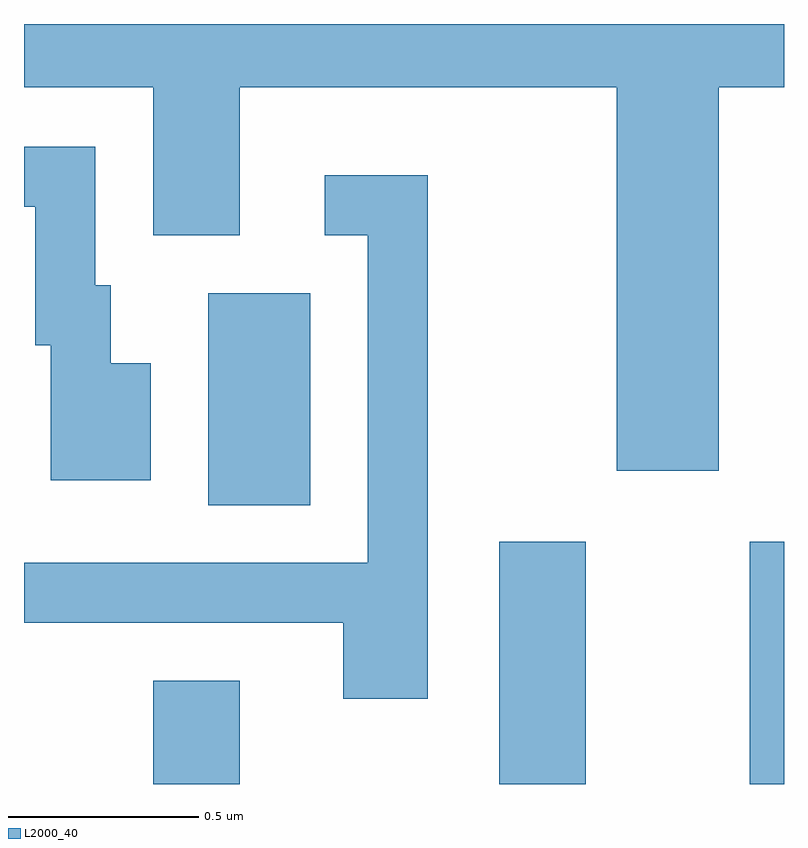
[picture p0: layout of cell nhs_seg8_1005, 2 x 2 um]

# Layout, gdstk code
import gdstk
lib = gdstk.Library(unit=1e-6, precision=1e-09)
def R(c, l, rs):  # rectangles x0, y0, x1, y1
    for r in rs: c.add(gdstk.rectangle(r[:2], r[2:], *l))
def P(c, l, *ps):  # polygons
    for p in ps: c.add(gdstk.Polygon(p, *l))
L2000_40 = (2000, 40)

nhs_seg8_1005 = lib.new_cell('nhs_seg8_1005')
R(nhs_seg8_1005, L2000_40, [(192.951,1852.342,193.179,1852.614), (193.861,1852.342,194.089,1852.979), (194.521,1852.342,194.611,1852.979), (193.096,1853.076,193.364,1853.634)])
P(nhs_seg8_1005, L2000_40, [(194.439,1854.176),(194.611,1854.176),(194.611,1854.342),(192.611,1854.342),(192.611,1854.176),(192.951,1854.176),(192.951,1853.786),(193.179,1853.786),(193.179,1854.176),(194.171,1854.176),(194.171,1853.166),(194.439,1853.166)],
  [(192.944,1853.449),(192.839,1853.449),(192.839,1853.654),(192.799,1853.654),(192.799,1854.019),(192.611,1854.019),(192.611,1853.861),(192.641,1853.861),(192.641,1853.496),(192.681,1853.496),(192.681,1853.141),(192.944,1853.141)],
  [(193.674,1853.944),(193.403,1853.944),(193.403,1853.786),(193.516,1853.786),(193.516,1852.924),(192.611,1852.924),(192.611,1852.766),(193.451,1852.766),(193.451,1852.566),(193.674,1852.566)])

lib.write_gds('nhs_seg8_1005.gds')
